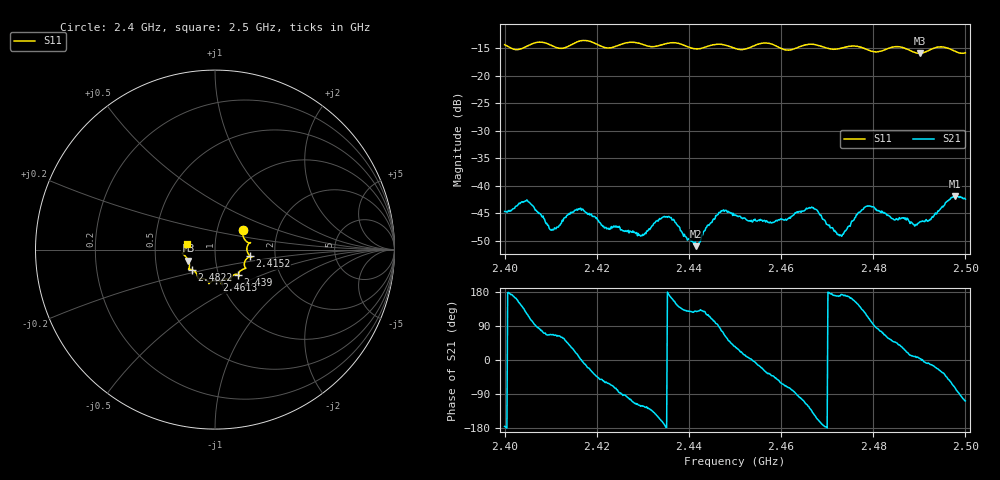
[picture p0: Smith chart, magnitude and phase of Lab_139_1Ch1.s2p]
# Hz S RI R 50
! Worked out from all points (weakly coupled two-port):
!   601 points, 2.4 GHz to 2.5 GHz, reference 50 ohm
!   highest |S21| = -41.83 dB at 2.4977 GHz (marker M1); lowest = -51.0 dB at 2.4415 GHz (marker M2)
!   lowest |S11| = -15.9 dB at 2.4902 GHz (marker M3), VSWR 1.38, Z = 36.9 - j4.62 ohm
!   |S11| at or under -10 dB: start of sweep to end of sweep
!   S12 and S22 are empty: the file has one direction only
!   S11 on the Smith chart (normalised r, x): 2.4 GHz: 1.33, +0.31; 2.4152 GHz: 1.48, -0.11; 2.439 GHz: 1.24, -0.36; 2.4613 GHz: 0.96, -0.34; 2.4822 GHz: 0.76, -0.17; 2.5 GHz: 0.73, +0.05
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2.4e9  0.1562 0.1114  -0.00583 -0.000476  0 0  0 0
2.405e9  0.1827 0.0398  -0.00358 0.00633  0 0  0 0
2.410167e9  0.1862 0.0304  0.00157 0.00362  0 0  0 0
2.415167e9  0.1948 -0.0362  0.00548 0.00238  0 0  0 0
2.416667e9  0.2043 -0.0421  0.006 6.29e-05  0 0  0 0
2.422167e9  0.1685 -0.0614  0.00205 -0.0035  0 0  0 0
2.429333e9  0.1655 -0.1061  -0.00175 -0.00311  0 0  0 0
2.433333e9  0.1326 -0.1325  -0.00417 -0.00233  0 0  0 0
2.436167e9  0.1346 -0.1474  -0.00495 0.0014  0 0  0 0
2.439e9  0.128 -0.1389  -0.00242 0.00269  0 0  0 0
2.4415e9  0.1037 -0.1417  -0.00178 0.0022  0 0  0 0
2.447e9  0.0857 -0.1729  0.00125 0.00581  0 0  0 0
2.45e9  0.0689 -0.1635  0.00436 0.00315  0 0  0 0
2.461333e9  0.00818 -0.1709  0.00163 -0.00468  0 0  0 0
2.466667e9  -0.0334 -0.1906  -0.00449 -0.00458  0 0  0 0
2.472667e9  -0.0738 -0.1605  -0.00346 0.000653  0 0  0 0
2.4785e9  -0.0986 -0.1436  -0.00313 0.00572  0 0  0 0
2.482167e9  -0.1282 -0.1119  0.00185 0.00535  0 0  0 0
2.483333e9  -0.1394 -0.1104  0.00293 0.0045  0 0  0 0
2.490167e9  -0.148 -0.061  0.00471 0.000268  0 0  0 0
2.497667e9  -0.1673 -0.00452  0.00251 -0.0077  0 0  0 0
2.5e9  -0.1583 0.0332  -0.00234 -0.00719  0 0  0 0
